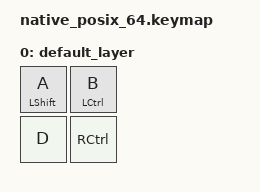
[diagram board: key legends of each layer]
#include <dt-bindings/zmk/keys.h>
#include <behaviors.dtsi>
#include <dt-bindings/zmk/kscan_mock.h>

/ {
    behaviors {
        ht_bal: behavior_hold_tap_balanced {
            compatible = "zmk,behavior-hold-tap";
            label = "HOLD_TAP_BALANCED";
            #binding-cells = <2>;
            flavor = "balanced";
            tapping-term-ms = <100>;
            quick-tap-ms = <300>;
            bindings = <&kp>, <&kp>;
            hold-while-undecided;
            hold-while-undecided-linger;
        };
    };

    keymap {
        compatible = "zmk,keymap";
        label ="Default keymap";

        default_layer {
            bindings = <
                &ht_bal LEFT_SHIFT A &ht_bal LEFT_CONTROL B
                &kp D &kp RIGHT_CONTROL>;
        };
    };
};

&kscan {
    events = <
        ZMK_MOCK_PRESS(0,0,10)
        ZMK_MOCK_RELEASE(0,0,10)
    >;
};
